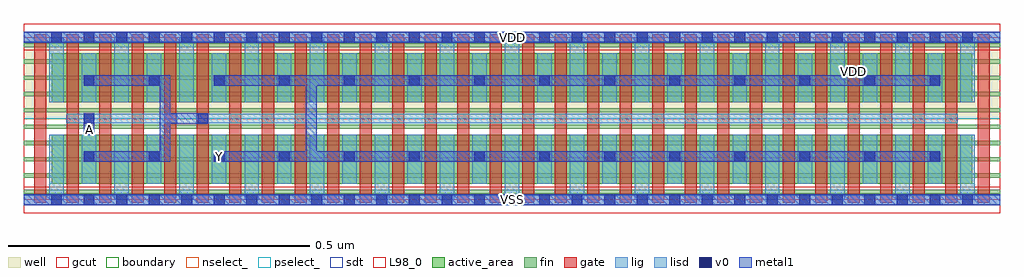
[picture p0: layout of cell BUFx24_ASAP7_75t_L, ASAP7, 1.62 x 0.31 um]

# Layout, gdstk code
import gdstk
lib = gdstk.Library(unit=1e-6, precision=2.5e-10)
def R(c, l, rs):  # rectangles x0, y0, x1, y1
    for r in rs: c.add(gdstk.rectangle(r[:2], r[2:], *l))
def A(c, l, x, y, w, h, nx, ny, dx, dy):  # array of equal rectangles
    R(c, l, [(x+i*dx, y+j*dy, x+i*dx+w, y+j*dy+h) for i in range(nx) for j in range(ny)])
def P(c, l, *ps):  # polygons
    for p in ps: c.add(gdstk.Polygon(p, *l))
well = (1, 0)
fin = (2, 0)
gate = (7, 0)
gcut = (10, 0)
active_area = (11, 0)
nselect_ = (12, 0)
pselect_ = (13, 0)
lig = (16, 0)
lisd = (17, 0)
v0 = (18, 0)
metal1 = (19, 0)
sdt = (88, 0)
L98_0 = (98, 0)
boundary = (100, 0)

bufx24_asap7_75t_l = lib.new_cell('BUFx24_ASAP7_75t_L')
R(bufx24_asap7_75t_l, well, [(0,0.135,1.62,0.27)])
A(bufx24_asap7_75t_l, fin, 0, 0.01, 1.62, 0.007, 1, 10, 0, 0.027)
A(bufx24_asap7_75t_l, gate, 0.017, -0.005, 0.02, 0.28, 30, 1, 0.054, 0)
R(bufx24_asap7_75t_l, gcut, [(0,-0.022,1.62,0.022), (0,0.248,1.62,0.292)])
R(bufx24_asap7_75t_l, active_area, [(0.046,0.027,1.574,0.108), (0.046,0.162,1.574,0.243)])
R(bufx24_asap7_75t_l, nselect_, [(0,0,1.62,0.135)])
R(bufx24_asap7_75t_l, pselect_, [(0,0.135,1.62,0.27)])
R(bufx24_asap7_75t_l, lig, [(0,-0.008,1.62,0.008), (0.07,0.127,0.254,0.143), (0.286,0.127,1.55,0.143), (0,0.262,1.62,0.278)])
A(bufx24_asap7_75t_l, lisd, 0.042, 0, 0.024, 0.108, 15, 2, 0.108, 0.162)
A(bufx24_asap7_75t_l, lisd, 0.096, 0.027, 0.024, 0.081, 14, 2, 0.108, 0.135)
A(bufx24_asap7_75t_l, v0, 0.045, -0.009, 0.018, 0.018, 29, 2, 0.054, 0.27)
A(bufx24_asap7_75t_l, v0, 0.099, 0.063, 0.018, 0.018, 14, 2, 0.108, 0.126)
R(bufx24_asap7_75t_l, v0, [(0.099,0.126,0.117,0.144), (0.288,0.126,0.306,0.144)])
R(bufx24_asap7_75t_l, metal1, [(0,-0.009,1.62,0.009), (0.099,0.108,0.117,0.144), (0,0.261,1.62,0.279)])
P(bufx24_asap7_75t_l, metal1, [(1.521,0.207),(0.315,0.207),(0.315,0.189),(0.468,0.189),(0.468,0.081),(0.315,0.081),(0.315,0.063),(1.521,0.063),(1.521,0.081),(0.486,0.081),(0.486,0.189),(1.521,0.189)],
  [(0.243,0.126),(0.306,0.126),(0.306,0.144),(0.243,0.144),(0.243,0.207),(0.099,0.207),(0.099,0.189),(0.225,0.189),(0.225,0.081),(0.099,0.081),(0.099,0.063),(0.243,0.063)])
A(bufx24_asap7_75t_l, sdt, 0.042, 0.027, 0.024, 0.081, 29, 2, 0.054, 0.135)
R(bufx24_asap7_75t_l, L98_0, [(0,0,1.62,0.27)])
R(bufx24_asap7_75t_l, boundary, [(0,0,1.62,0.27)])
bufx24_asap7_75t_l.add(gdstk.Label('Y', (0.324,0.072), layer=19, texttype=251))
bufx24_asap7_75t_l.add(gdstk.Label('A', (0.108,0.117), layer=19, texttype=251))
bufx24_asap7_75t_l.add(gdstk.Label('VSS', (0.81,0), layer=19, texttype=251))
bufx24_asap7_75t_l.add(gdstk.Label('VDD', (0.81,0.27), layer=19, texttype=251))
bufx24_asap7_75t_l.add(gdstk.Label('VDD', (1.377,0.213), layer=1, texttype=251))
bufx24_asap7_75t_l.add(gdstk.Label('VSS', (1.863,0.213), layer=3, texttype=251))

lib.write_gds('BUFx24_ASAP7_75t_L.gds')
